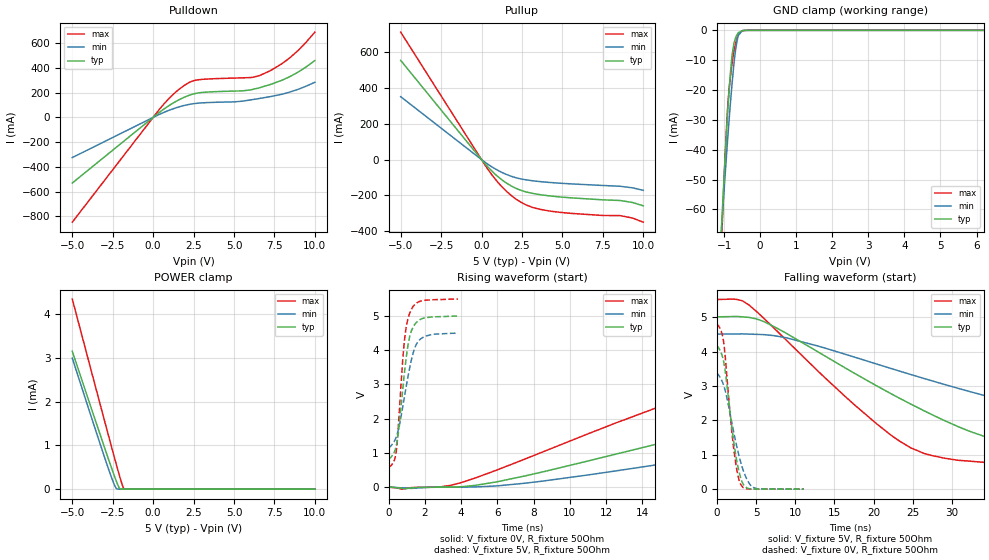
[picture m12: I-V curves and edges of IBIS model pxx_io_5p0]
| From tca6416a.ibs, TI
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|   pxx_io_5p0 Model
[Model]   pxx_io_5p0
Model_type   I/O
Polarity   Non-Inverting
Enable   Active-Low
Vinl = 1.5
Vinh = 3.5
Vmeas = 2.5
Vref = 0
Cref = 50pF
Rref = 50
|   typ   min   max
|   (nom PVT)   (fast PVT)   (slow PVT)
C_comp   2.602e-12   2.433e-12   2.846e-12
[Model spec]
|subparameter
Vinl   1.5   1.35   1.65
Vinh   3.5   3.15   3.85
| Where nom  PVT is Nominal Process, 5V, 27C
|   Fast PVT is Strong Process,  5.5V, -40C
|   Slow PVT is Weak Process,   4.5V, 106C
[Voltage Range]   5   4.5   5.5
|Junction Temperature
[Temperature Range]   27   106   -40
[Pullup Reference]   5   4.5   5.5
[Pulldown Reference]   0   0   0
[Power Clamp Reference]   5   4.5   5.5
[GND Clamp Reference]   0   0   0
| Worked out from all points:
|   slope of the pulldown table from 0 to 0.75 V, typ, clamps not added: 10 ohm
|   slope of the pullup table from 0 to 0.75 V, typ, clamps not added: 10.2 ohm
|   GND clamp passes 1 mA (typ) near -0.62 V on its own axis
|   falling waveform, V_fixture 5V, R_fixture 50Ohm: 20-80 % time 20.8ns typ, 33.6ns min, 14.2ns max; typ from 5 V to 0.846 V
|   rising waveform, V_fixture 0V, R_fixture 50Ohm: 20-80 % time 22.8ns typ, 32.4ns min, 15.5ns max; typ from 0 V to 4.13 V
|   rising waveform, V_fixture 5V, R_fixture 50Ohm: 20-80 % time 518ps typ, 704ps min, 416ps max; typ from 0.84 V to 5 V
|   falling waveform, V_fixture 0V, R_fixture 50Ohm: 20-80 % time 1.41ns typ, 1.93ns min, 1.2ns max; typ from 4.14 V to 0 V
[Pulldown]
|   Voltage   I(typ)   I(min)   I(max)
-5V       -530.3mA   -324.7mA   -846.7mA
332.5mV   34.92mA    21.09mA    56.29mA
989.5mV   96.1mA     57.7mA     153.9mA
1.624V    144.2mA    85.8mA     229.4mA
2.238V    179mA      105.2mA    282.8mA
2.765V    197.1mA    114.8mA    303.5mA
5.508V    214.1mA    131.2mA    319.5mA
6.606V    240.6mA    153.7mA    339.5mA
7.3V      268.1mA    169.2mA    381.5mA
8.464V    330.2mA    205mA      483mA
9.04V     372.1mA    230.4mA    550.4mA
10V       459.2mA    283.9mA    689.2mA
[GND Clamp]
|   Voltage   I(typ)   I(min)   I(max)
-5V       -1.245A    -988.5mA   -1.592A
-1.128V   -79.4mA    -77.08mA   -89.2mA
-1.067V   -64.68mA   -65.71mA   -69.81mA
-1.062V   -63.48mA   -64.78mA   -68.25mA
-913.5mV  -30.17mA   -38.47mA   -28.08mA
-864mV    -20.66mA   -30.41mA   -20.09mA
-795mV    -10.16mA   -20.03mA   -12.61mA
-730mV    -4.563mA   -11.54mA   -7.308mA
-677mV    -2.31mA    -6.087mA   -4.059mA
-603.5mV  -778.5uA   -1.672mA   -1.326mA
-500mV    -114.3uA   -165.2uA   -153.6uA
10V       0A         0A         0A
[Pullup]
|   Voltage   I(typ)   I(min)   I(max)
-5V       553.2mA    350.9mA    710.9mA
310mV     -32.94mA   -20.71mA   -43.22mA
1V        -94.16mA   -59.55mA   -125.4mA
1.518V    -129.6mA   -82.05mA   -174.8mA
1.9V      -150.2mA   -95.01mA   -204.8mA
2.76V     -180.5mA   -113.1mA   -253mA
3.696V    -196.7mA   -123.5mA   -278.9mA
5.505V    -213.2mA   -135.4mA   -299.8mA
7.496V    -224.5mA   -144.5mA   -311.8mA
8.559V    -228.2mA   -148.8mA   -312.5mA
9.338V    -239.5mA   -157.6mA   -326.1mA
10V       -257.8mA   -171.6mA   -349.2mA
[POWER Clamp]
|   Voltage   I(typ)   I(min)   I(max)
-5V       3.148mA    2.992mA    4.342mA
-3.002V   945.8uA    724.7uA    1.557mA
-2.43V    335.9uA    126.8uA    772uA
-2.332V   235.4uA    48.4uA     638uA
-2.255V   160.8uA    12.12uA    535.2uA
-2.09V    27.34uA    115.6nA    317.6uA
-2.02V    4.079uA    21.19nA    228.3uA
-1.876V   19.74nA    0A         62.28uA
-1.788V   0A         0A         5.751uA
10V       0A         0A         0A
[Ramp]
R_load = 50
|   typ   min   max
dV/dt_r   2.48505/2.28727e-08   2.00499/3.27379e-08   2.86234/1.55071e-08
dV/dt_f   2.49534/2.07692e-08   1.99325/3.40761e-08   2.94101/1.41579e-08
[Falling Waveform]
V_fixture = 5V
V_fixture_min = 4.5V
V_fixture_max = 5.5V
R_fixture = 50Ohm
|   Time   V(typ)   V(min)   V(max)
0s        5V         4.5V       5.5V
4.12ns    4.997V     4.511V     5.353V
8.88ns    4.532V     4.403V     4.331V
23.28ns   2.651V     3.438V     1.406V
26.46ns   2.28V      3.22V      1.04V
30.8ns    1.82V      2.934V     840.3mV
41.68ns   1.183V     2.297V     697.4mV
63.48ns   936.9mV    1.539V     625.8mV
90.22ns   871.6mV    1.303V     606mV
140ns     845.5mV    1.202V     599.1mV
[Rising Waveform]
V_fixture = 0V
V_fixture_min = 0V
V_fixture_max = 0V
R_fixture = 50Ohm
|   Time   V(typ)   V(min)   V(max)
0s        2.022nV    38.47nV    804.2pV
3.8ns     3.469mV    -3.261mV   98.66mV
8.54ns    446.7mV    176mV      1.033V
20.7ns    1.994V     1.115V     3.387V
25.96ns   2.575V     1.503V     4.075V
30.78ns   3.031V     1.826V     4.396V
42.76ns   3.717V     2.471V     4.628V
61.78ns   3.996V     3.019V     4.724V
85.46ns   4.09V      3.22V      4.756V
139.4ns   4.135V     3.322V     4.769V
[Rising Waveform]
V_fixture = 5V
V_fixture_min = 4.5V
V_fixture_max = 5.5V
R_fixture = 50Ohm
|   Time   V(typ)   V(min)   V(max)
0s        840.5mV    1.172V     598.2mV
280ps     977.3mV    1.303V     725.2mV
420ps     1.188V     1.456V     1.03V
580ps     1.761V     1.759V     2.087V
860ps     3.26V      2.585V     4.184V
1ns       3.878V     3.013V     4.746V
1.2ns     4.468V     3.571V     5.127V
1.5ns     4.795V     4.136V     5.365V
1.84ns    4.925V     4.361V     5.45V
3.832ns   4.999V     4.499V     5.499V
[Falling Waveform]
V_fixture = 0V
V_fixture_min = 0V
V_fixture_max = 0V
R_fixture = 50Ohm
|   Time   V(typ)   V(min)   V(max)
0s        4.143V     3.345V     4.771V
520ps     3.978V     3.208V     4.615V
860ps     3.713V     3.025V     4.277V
1.74ns    2.121V     2.132V     2.058V
2.14ns    1.405V     1.67V      1.199V
2.6ns     754.5mV    1.182V     498.1mV
3.06ns    313mV      769.2mV    131.9mV
3.84ns    31.84mV    276.7mV    8.91mV
4.62ns    2.91mV     52.18mV    4.033mV
11.1ns    373.8nV    1.899uV    90.49nV
